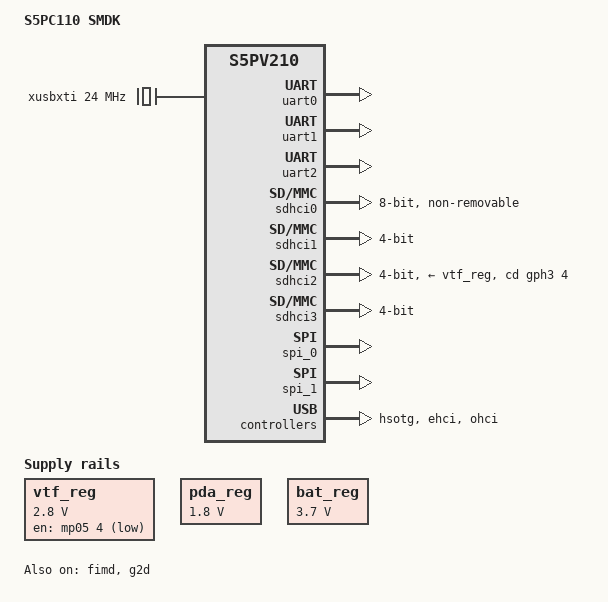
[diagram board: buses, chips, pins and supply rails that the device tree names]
/*
 * Samsung's S5PV210 SoC device tree source
 *
 * Copyright (c) 2013 Mateusz Krawczuk <m.krawczuk@partner.samsung.com>
 *
 * Samsung's S5PV210 SoC device nodes are listed in this file. S5PV210
 * based board files can include this file and provide values for board specfic
 * bindings.
 *
 * Note: This file does not include device nodes for all the controllers in
 * S5PV210 SoC. As device tree coverage for S5PV210 increases, additional
 * nodes can be added to this file.
 *
 * This program is free software; you can redistribute it and/or modify
 * it under the terms of the GNU General Public License version 2 as
 * published by the Free Software Foundation.
 */

/dts-v1/;
#include <dt-bindings/input/input.h>
#include "s5pv210.dtsi"

/ {
	model = "S5PC110 SMDK";
	compatible = "samsung,smdkc110", "samsung,s5pv210";

	chosen {
		bootargs = "console=ttySAC0,115200n8 root=/dev/mmcblk0p1 rw rootwait ignore_loglevel earlyprintk";
	};

	memory {
		device_type = "memory";
		reg = <>;
	};

	fixed-clocks {
		compatible = "simple-bus";
		#address-cells = <1>;
		#size-cells = <0>;

		xxti: oscillator@0 {
			compatible = "fixed-clock";
			reg = <0>;
			clock-output-names = "xxti";
			clock-frequency = <0>;
			#clock-cells = <0>;
		};

		xusbxti: oscillator@1 {
			compatible = "fixed-clock";
			reg = <1>;
			clock-output-names = "xusbxti";
			clock-frequency = <24000000>;
			#clock-cells = <0>;
		};
	};

	regulators {
		compatible = "simple-bus";
		#address-cells = <1>;
		#size-cells = <0>;

		vtf_reg: fixed-regulator@0 {
			compatible = "regulator-fixed";
			regulator-name = "V_TF_2.8V";
			regulator-min-microvolt = <2800000>;
			regulator-max-microvolt = <2800000>;
			reg = <0>;
			gpios = <&mp05 4 0>;
		};

		pda_reg: fixed-regulator@1 {
			compatible = "regulator-fixed";
			regulator-name = "VCC_1.8V_PDA";
			regulator-min-microvolt = <1800000>;
			regulator-max-microvolt = <1800000>;
			reg = <1>;
		};

		bat_reg: fixed-regulator@2 {
			compatible = "regulator-fixed";
			regulator-name = "V_BAT";
			regulator-min-microvolt = <3700000>;
			regulator-max-microvolt = <3700000>;
			reg = <2>;
		};
	};
};

&uart0 {
	status = "okay";
};

&uart1 {
	status = "okay";
};

&uart2 {
	status = "okay";
};

&sdhci0 {
	bus-width = <8>;
	non-removable;
	status = "okay";
};

&sdhci1 {
	bus-width = <4>;
	pinctrl-0 = <&sd1_clk &sd1_cmd &sd1_cd &sd1_bus4>;
	pinctrl-names = "default";
	status = "okay";
};

&sdhci2 {
	bus-width = <4>;
	cd-gpios = <&gph3 4 1>;
	vmmc-supply = <&vtf_reg>;
	cd-inverted;
	pinctrl-0 = <&sd2_clk &sd2_cmd &sd2_bus4>;
	pinctrl-names = "default";
	status = "okay";
};

&sdhci3 {
	bus-width = <4>;
	pinctrl-0 = <&sd3_clk &sd3_cmd &sd3_cd &sd3_bus4>;
	pinctrl-names = "default";
	status = "okay";
};

&spi_0 {
	status = "okay";
};

&spi_1 {
	status = "okay";
};

&hsotg {
	status = "okay";
};

&usbphy {
	clocks = <&clocks USB_OTG>, <&xusbxti>, <&xusbxti>;
	clock-names = "phy", "device", "host";
};

&fimd {
	pinctrl-0 = <&lcd_clk &lcd_data24 &pwm1_out>;
	pinctrl-names = "default";
	status = "okay";
};

&g2d {
	status = "okay";
};

&ehci {
	status = "okay";
};

&ohci {
	status = "okay";
};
